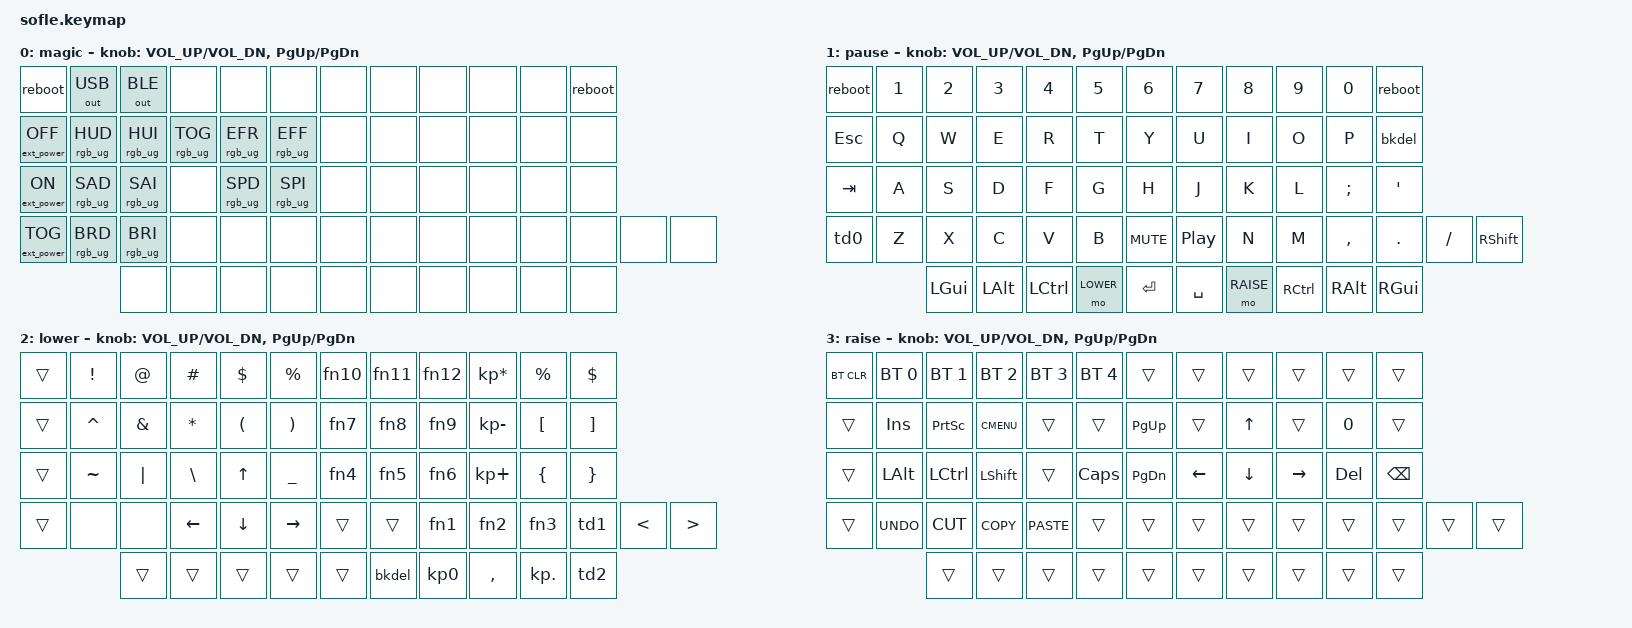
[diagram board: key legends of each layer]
/*
 * Copyright (c) 2020 The ZMK Contributors
 *
 * SPDX-License-Identifier: MIT
 */

#include <behaviors.dtsi>
#include <dt-bindings/zmk/bt.h>
#include <dt-bindings/zmk/ext_power.h>
#include <dt-bindings/zmk/keys.h>
#include <dt-bindings/zmk/outputs.h>
#include <dt-bindings/zmk/rgb.h>

#define BASE 0
#define LOWER 1
#define RAISE 2
#define MAGIC 3
#define GAMING 4
#define PAUSE 5

&led_strip {
    chain-length = <35>;
};

&soft_off {
    hold-time-ms = <3000>;
};

/ {

   // Activate MAGIC layer by pressing raise and lower
    conditional_layers {
        compatible = "zmk,conditional-layers";
        magic_layer {
            if-layers = <LOWER RAISE>;
            then-layer = <MAGIC>;
        };
    };

    behaviors {
        td0: caps_lock {
            compatible = "zmk,behavior-tap-dance";
            #binding-cells = <0>;
            tapping-term-ms = <200>;
            bindings = <&kp LSHFT>, <&kp CAPS>;
        };
        td1: numpad_equals_ret {
            compatible = "zmk,behavior-tap-dance";
            #binding-cells = <0>;
            tapping-term-ms = <200>;
            bindings = <&kp EQUAL>, <&kp KP_ENTER>;
        };
        td2: numpad_ret_tab {
            compatible = "zmk,behavior-tap-dance";
            #binding-cells = <0>;
            tapping-term-ms = <200>;
            bindings = <&kp KP_ENTER>, <&kp TAB>;
        };
        bkdel: shifted_del {
               compatible = "zmk,behavior-mod-morph";
               #binding-cells = <0>;
               bindings = <&kp BSPC>, <&kp DEL>;
               mods = <MOD_LSFT>;
        };
        fn1: numpad_f1 {
             compatible = "zmk,behavior-mod-morph";
             #binding-cells = <0>;
             bindings = <&kp KP_N1>, <&kp F1>;
             mods = <MOD_LCTL>;
        };
        fn2: numpad_f2 {
             compatible = "zmk,behavior-mod-morph";
             #binding-cells = <0>;
             bindings = <&kp KP_N2>, <&kp F2>;
             mods = <MOD_LCTL>;
        };
        fn3: numpad_f3 {
             compatible = "zmk,behavior-mod-morph";
             #binding-cells = <0>;
             bindings = <&kp KP_N3>, <&kp F3>;
             mods = <MOD_LCTL>;
        };
        fn4: numpad_f4 {
             compatible = "zmk,behavior-mod-morph";
             #binding-cells = <0>;
             bindings = <&kp KP_N4>, <&kp F4>;
             mods = <MOD_LCTL>;
        };
        fn5: numpad_f5 {
             compatible = "zmk,behavior-mod-morph";
             #binding-cells = <0>;
             bindings = <&kp KP_N5>, <&kp F5>;
             mods = <MOD_LCTL>;
        };
        fn6: numpad_f6 {
             compatible = "zmk,behavior-mod-morph";
             #binding-cells = <0>;
             bindings = <&kp KP_N6>, <&kp F6>;
             mods = <MOD_LCTL>;
        };
        fn7: numpad_f7 {
             compatible = "zmk,behavior-mod-morph";
             #binding-cells = <0>;
             bindings = <&kp KP_N7>, <&kp F7>;
             mods = <MOD_LCTL>;
        };
        fn8: numpad_f8 {
             compatible = "zmk,behavior-mod-morph";
             #binding-cells = <0>;
             bindings = <&kp KP_N8>, <&kp F8>;
             mods = <MOD_LCTL>;
        };
        fn9: numpad_f9 {
             compatible = "zmk,behavior-mod-morph";
             #binding-cells = <0>;
             bindings = <&kp KP_N9>, <&kp F9>;
             mods = <MOD_LCTL>;
        };
        fn10: numpad_f10 {
             compatible = "zmk,behavior-mod-morph";
             #binding-cells = <0>;
             bindings = <&kp LPAR>, <&kp F10>;
             mods = <MOD_LCTL>;
        };
        fn11: numpad_f11 {
             compatible = "zmk,behavior-mod-morph";
             #binding-cells = <0>;
             bindings = <&kp RPAR>, <&kp F11>;
             mods = <MOD_LCTL>;
        };
        fn12: numpad_f12 {
             compatible = "zmk,behavior-mod-morph";
             #binding-cells = <0>;
             bindings = <&kp KP_DIVIDE>, <&kp F12>;
             mods = <MOD_LCTL>;
        };
        reboot: reset_button {
                compatible = "zmk,behavior-tap-dance";
                #binding-cells = <0>;
                tapping-term-ms = <200>;
                bindings = <&sys_reset>, <&bootloader>;
        };
    };

    keymap {
        compatible = "zmk,keymap";

        magic_layer {
            display-name = "magic";
// ----------------------------------------------------------------------------------------------------------------------------
// | Reset  | OUT_USB | OUT_BLE |         |         |         |                  |      |      |       |      |       | Reset |
// | EP_OFF | RGB_HUD | RGB_HUI | RGB_TOG | RGB_EFR | RGB_EFF |                  |      |      |       |      |       |       |
// | EP_ON  | RGB_SAD | RGB_SAI |         | RGB_SPD | RGB_SPI |                  |      |      |       |      |       |       |
// | EP_TOG | RGB_BRD | RGB_BRI |         |         |         |         | |      |      |      |       |      |       |       |
//                    |         |         |         |         |         | |      |      |      |       |      |
            bindings = <
&reboot           &out OUT_USB    &out OUT_BLE    &none           &none           &none            &none &none &none &none &none &reboot
&ext_power EP_OFF &rgb_ug RGB_HUD &rgb_ug RGB_HUI &rgb_ug RGB_TOG &rgb_ug RGB_EFR &rgb_ug RGB_EFF  &none &none &none &none &none &none
&ext_power EP_ON  &rgb_ug RGB_SAD &rgb_ug RGB_SAI &none           &rgb_ug RGB_SPD &rgb_ug RGB_SPI  &none &none &none &none &none &none
&ext_power EP_TOG &rgb_ug RGB_BRD &rgb_ug RGB_BRI &none           &none           &none            &none &none &none &none &none &none &none &none
                                  &none           &none           &none           &none            &none &none &none &none &none &none
            >;

             sensor-bindings = <&inc_dec_kp C_VOL_UP C_VOL_DN &inc_dec_kp PG_UP PG_DN>;
        };

        pause_layer {
            display-name = "pause";
// ------------------------------------------------------------------------------------------------------------
// |  ESC  |  1  |  2  |  3   |  4   |  5   |                   |  6   |  7    |  8    |  9   |   0   |       |
// | LOWER |  Q  |  W  |  E   |  R   |  T   |                   |  Y   |  U    |  I    |  O   |   P   | RAISE |
// |   -   |  A  |  S  |  D   |  F   |  G   |                   |  H   |  J    |  K    |  L   |   ;   |   '   |
// | SHIFT |  Z  |  X  |  C   |  V   |  B   |  MUTE  |  | PLAY  |  N   |  M    |  ,    |  .   |   /   | RSHIFT |
//               | CTRL| GUI  | ALT  |  TAB |  SPACE |  | ENTER | BKSPC|  DEL  |       |      |
            bindings = <
&reboot   &kp N1 &kp N2   &kp N3   &kp N4    &kp N5                           &kp N6 &kp N7    &kp N8    &kp N9   &kp N0   &reboot
&kp ESC   &kp Q  &kp W    &kp E    &kp R     &kp T                            &kp Y  &kp U     &kp I     &kp O    &kp P    &bkdel
&kp TAB   &kp A  &kp S    &kp D    &kp F     &kp G                            &kp H  &kp J     &kp K     &kp L    &kp SEMI &kp SQT
&td0      &kp Z  &kp X    &kp C    &kp V     &kp B      &kp C_MUTE &kp C_PP   &kp N  &kp M     &kp COMMA &kp DOT  &kp FSLH &kp RSHFT
                 &kp LGUI &kp LALT &kp LCTRL &mo LOWER  &kp RET    &kp SPACE  &mo RAISE  &kp RCTRL &kp RALT  &kp RGUI
            >;

            sensor-bindings = <&inc_dec_kp C_VOL_UP C_VOL_DN &inc_dec_kp PG_UP PG_DN>;
        };

        lower_layer {
            display-name = "lower";
// ------------------------------------------------------------------------------------------------------------
// |       |  !  |  @  |  #   |  $   |  %   |                   |  (   |  )    |  /    |  *   |   %   |   $   |
// |       |  ^  |  &  |  *   |  (   |  )   |                   |  7   |  8    |  9    |  -   |   [   |   ]   |
// |       |  ~  |  |  |  \   |  Up  |  _   |                   |  4   |  5    |  6    |  +   |   {   |   }   |
// |       |     |     | Left | Down | Right|        |  |       |  1   |  2    |  3    |  =   |   <   |   >   |
//               |     |      |  Fn  |      |        |  | BKSPC |  0   |  ,    |  .    |  RET |
            bindings = <
&trans    &kp EXCL  &kp AT   &kp HASH &kp DLLR &kp PRCNT                &fn10     &fn11     &fn12      &kp KP_MULTIPLY &kp PRCNT &kp DLLR
&trans    &kp CARET &kp AMPS &kp STAR &kp LPAR &kp RPAR                 &fn7      &fn8      &fn9       &kp KP_MINUS    &kp LBKT  &kp RBKT
&trans    &kp TILDE &kp PIPE &kp BSLH &kp UP   &kp UNDER                &fn4      &fn5      &fn6       &kp KP_PLUS     &kp LBRC  &kp RBRC
&trans    &none     &none    &kp LEFT &kp DOWN &kp RIGHT  &trans &trans &fn1      &fn2      &fn3       &td1            &kp LT    &kp GT
                    &trans   &trans   &trans   &trans     &trans &bkdel &kp KP_N0 &kp COMMA &kp KP_DOT &td2
            >;

            sensor-bindings = <&inc_dec_kp C_VOL_UP C_VOL_DN &inc_dec_kp PG_UP PG_DN>;
        };

        raise_layer {
            display-name = "raise";
// ------------------------------------------------------------------------------------------------------------
// | BTCLR | BT1  | BT2  |  BT3  |  BT4  |  BT5 |                |      |      |       |      |       |       |
// |       | INS  | PSCR | GUI   |       |      |                | PGUP |      |   ^   |      |       |       |
// |       | ALT  | CTRL | SHIFT |       | CAPS |                | PGDN |   <- |   v   |  ->  |  DEL  | BKSPC |
// |       | UNDO | CUT  | COPY  | PASTE |      |      |  |      |      |      |       |      |       |       |
//                |      |       |       |      |      |  |      |      |      |       |      |
            bindings = <
&bt BT_CLR &bt BT_SEL 0 &bt BT_SEL 1 &bt BT_SEL 2 &bt BT_SEL 3 &bt BT_SEL 4                  &trans    &trans    &trans   &trans    &trans  &trans
&trans     &kp INS      &kp PSCRN    &kp K_CMENU  &trans       &trans                        &kp PG_UP &trans    &kp UP   &trans    &kp N0  &trans
&trans     &kp LALT     &kp LCTRL    &kp LSHFT    &trans       &kp CLCK                      &kp PG_DN &kp LEFT  &kp DOWN &kp RIGHT &kp DEL &kp BSPC
&trans     &kp K_UNDO   &kp K_CUT    &kp K_COPY   &kp K_PASTE  &trans        &trans  &trans  &trans    &trans    &trans   &trans    &trans  &trans
                        &trans       &trans       &trans       &trans        &trans  &trans  &trans    &trans    &trans   &trans
            >;

            sensor-bindings = <&inc_dec_kp C_VOL_UP C_VOL_DN &inc_dec_kp PG_UP PG_DN>;
        };



    };
};
